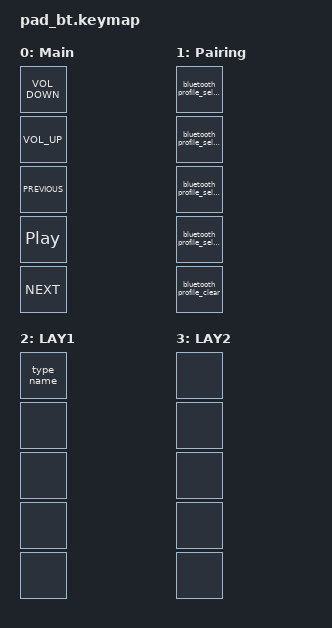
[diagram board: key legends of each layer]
#undef ZMK_BEHAVIORS_KEEP_ALL

#include <behaviors.dtsi>
#include <dt-bindings/zmk/keys.h>
#include <dt-bindings/zmk/bt.h>
#include <dt-bindings/zmk/rgb.h>

/ {
     macros {
type_name: type_name {
     compatible = "zmk,behavior-macro";
     #binding-cells = <0>;
     wait-ms = <40>;
     tap-ms = <40>;
     bindings =
          <&kp LS(A)>
          , <&kp N &kp T &kp H &kp O &kp N &kp Y>
          , <&kp SPACE>
          , <&kp LS(M)>
          , <&kp C &kp N &kp E &kp W>
          ;
}; 
        go_to_bluetooth_layer: go_to_bluetooth_layer {
            compatible = "zmk,behavior-macro";
            #binding-cells = <0>;
            bindings = <&macro_press &to 1>, <&macro_press &rgb_ug RGB_ON>, <&macro_press &rgb_ug RGB_COLOR_HSB(225, 100, 50)>, <&macro_press &rgb_ug RGB_EFF>; 
        };

        go_to_default_layer: go_to_default_layer {
            compatible = "zmk,behavior-macro";
            #binding-cells = <0>;
            bindings = <&macro_press &to 0>, <&macro_press &rgb_ug RGB_EFR>, <&macro_press &rgb_ug RGB_COLOR_HSB(205, 0, 25)>; 
        };

        bluetooth_profile_clear: bluetooth_profile_clear {
            compatible = "zmk,behavior-macro";
            #binding-cells = <0>;
            bindings = <&macro_press &bt BT_CLR>
            , <&macro_press &rgb_ug RGB_TOG>
            , <&macro_wait_time 100>
            , <&macro_press &rgb_ug RGB_TOG>
            ,  <&macro_wait_time 100>
            , <&macro_press &rgb_ug RGB_TOG>
            , <&macro_wait_time 100>
            , <&macro_press &rgb_ug RGB_TOG>
            , <&macro_wait_time 100>
            , <&macro_press &rgb_ug RGB_TOG>
            , <&macro_wait_time 100>
            , <&macro_press &rgb_ug RGB_TOG>
            , <&macro_wait_time 100>
            , <&macro_press &rgb_ug RGB_TOG>
            , <&macro_wait_time 100>
            , <&macro_press &rgb_ug RGB_TOG>
            , <&macro_wait_time 100>
            , <&macro_press &rgb_ug RGB_TOG>
            , <&macro_wait_time 100>
            , <&macro_press &rgb_ug RGB_TOG>; 
        };

        bluetooth_profile_select_0: bluetooth_profile_select_0 {
            compatible = "zmk,behavior-macro";
            #binding-cells = <0>;
            bindings = <&macro_press &bt BT_SEL 0>
            , <&macro_press &rgb_ug RGB_TOG>
            , <&macro_wait_time 100>
            , <&macro_press &rgb_ug RGB_TOG>
            , <&macro_wait_time 100>
            , <&macro_press &rgb_ug RGB_TOG>
            , <&macro_wait_time 100>
            , <&macro_press &rgb_ug RGB_TOG>
            , <&macro_wait_time 100>
            , <&macro_press &rgb_ug RGB_TOG>
            , <&macro_wait_time 100>
            , <&macro_press &rgb_ug RGB_TOG>; 
        };

        bluetooth_profile_select_1: bluetooth_profile_select_1 {
            compatible = "zmk,behavior-macro";
            #binding-cells = <0>;
            bindings = <&macro_press &bt BT_SEL 1>
            , <&macro_press &rgb_ug RGB_TOG>
            , <&macro_wait_time 100>
            , <&macro_press &rgb_ug RGB_TOG>
            , <&macro_wait_time 100>
            , <&macro_press &rgb_ug RGB_TOG>
            , <&macro_wait_time 100>
            , <&macro_press &rgb_ug RGB_TOG>
            , <&macro_wait_time 100>
            , <&macro_press &rgb_ug RGB_TOG>
            , <&macro_wait_time 100>
            , <&macro_press &rgb_ug RGB_TOG>; 
        };

        bluetooth_profile_select_2: bluetooth_profile_select_2 {
            compatible = "zmk,behavior-macro";
            #binding-cells = <0>;
            bindings = <&macro_press &bt BT_SEL 2>
            , <&macro_press &rgb_ug RGB_TOG>
            , <&macro_wait_time 100>
            , <&macro_press &rgb_ug RGB_TOG>
            , <&macro_wait_time 100>
            , <&macro_press &rgb_ug RGB_TOG>
            , <&macro_wait_time 100>
            , <&macro_press &rgb_ug RGB_TOG>
            , <&macro_wait_time 100>
            , <&macro_press &rgb_ug RGB_TOG>
            , <&macro_wait_time 100>
            , <&macro_press &rgb_ug RGB_TOG>; 
        };

        bluetooth_profile_select_3: bluetooth_profile_select_3 {
            compatible = "zmk,behavior-macro";
            #binding-cells = <0>;
            bindings = <&macro_press &bt BT_SEL 3>
            , <&macro_press &rgb_ug RGB_TOG>
            , <&macro_wait_time 100>
            , <&macro_press &rgb_ug RGB_TOG>
            ,  <&macro_wait_time 100>
            , <&macro_press &rgb_ug RGB_TOG>
            , <&macro_wait_time 100>
            , <&macro_press &rgb_ug RGB_TOG>
            , <&macro_wait_time 100>
            , <&macro_press &rgb_ug RGB_TOG>
            , <&macro_wait_time 100>
            , <&macro_press &rgb_ug RGB_TOG>; 
        };
    };

    combos {
        compatible = "zmk,combos";
        combo_play_pause {
            timeout-ms = <50>;
            key-positions = <0 1>;
            bindings = <&studio_unlock>;
        };

        combo_pairing {
            timeout-ms = <50>;
            key-positions = <2 3 4>;
            layers = <0>;
            bindings = <&go_to_bluetooth_layer>;
        };

        combo_exit_pairing {
            timeout-ms = <50>;
            key-positions = <2 3 4>;
            layers = <1>;
            bindings = <&go_to_default_layer>;
        };

        combo_lighting {
            timeout-ms = <50>;
            key-positions = <0 2>;
            layers = <0>;
            bindings = <&to 2>;
        };

        combo_exit_lighting {
            timeout-ms = <50>;
            key-positions = <0 2>;
            layers = <2>;
            bindings = <&to 0>;
        };

        combo_layer_2 {
            timeout-ms = <50>;
            key-positions = <1 3>;
            layers = <0>;
            bindings = <&to 3>;
        };

        combo_exit_layer_2 {
            timeout-ms = <50>;
            key-positions = <1 3>;
            layers = <3>;
            bindings = <&to 0>;
        };
    };

    keymap {
        compatible = "zmk,keymap";

        default_layer { // Layer 0
            display-name = "Main";
            // -------------------------------------
            //       |     Vol -/Layer 1     |     Vol +     |
            // |     Prev     |     Play     |     Next     |
            bindings = <
                &kp C_VOLUME_DOWN
                &kp C_VOLUME_UP
                &kp C_PREVIOUS
                &kp C_PLAY_PAUSE
                &kp C_NEXT
            >;
        };

        bluetooth_layer { // Layer 1
            display-name = "Pairing";
            // -------------------------------------
            //       |     BT 0     |     BT 1     |
            // |     BT 2    |     BT 3     |     BT CLR     |
            bindings = <
                &bluetooth_profile_select_0
                &bluetooth_profile_select_1
                &bluetooth_profile_select_2
                &bluetooth_profile_select_3
                &bluetooth_profile_clear
            >;
        };

        user_layer_1 { // Layer 2
            display-name = "LAY1";
            // -------------------------------------
            //       |     RGB TOG     |     Brightness Up     |
            // |     None     |     Brightness Down    |     Hue     |
            bindings = <
                &type_name
                &none
                &none
                &none
                &none
            >;
        };

        user_layer_2 { // Layer 3
            display-name = "LAY2";
            // -------------------------------------
            //       |     RGB TOG     |     Brightness Up     |
            // |     None     |     Brightness Down    |     Hue     |
            bindings = <
                &none
                &none
                &none
                &none
                &none
            >;
        };
    };
 };
 
